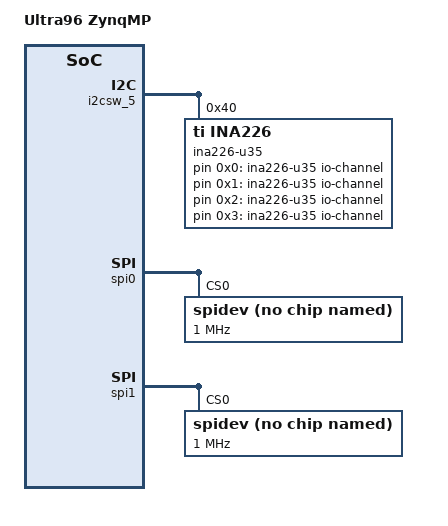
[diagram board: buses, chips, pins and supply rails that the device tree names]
/include/ "system-conf.dtsi"

/ {
    model = "Ultra96 ZynqMP";
};

/{
    chosen {
        bootargs = "earlyprintk clk_ignore_unused cma=1664M root=/dev/mmcblk0p2 rw rootwait";
    };

};

/ {
	ina226-u35 {
		compatible = "iio-hwmon";
		io-channels = <&u35 0x0 &u35 0x1 &u35 0x2 &u35 0x3>;
	};
};

&i2csw_5 {
	u35: ina226@40 {
		compatible = "ti,ina226";
		#io-channel-cells = <1>;
		label = "ina226-u35";
		reg = <0x40>;
		shunt-resistor = <0x2710>;
	};
};

&spi0 {
		is-decoded-cs = <0>;
		num-cs = <1>;
		status = "okay";
		spidev@0x00 {
				compatible = "rohm,dh2228fv";
				spi-max-frequency = <1000000>;
				reg = <0>;
		};
};

&spi1 {
		is-decoded-cs = <0>;
		num-cs = <1>;
		status = "okay";
		spidev@0x00 {
				compatible = "rohm,dh2228fv";
				spi-max-frequency = <1000000>;
				reg = <0>;
		};
};

